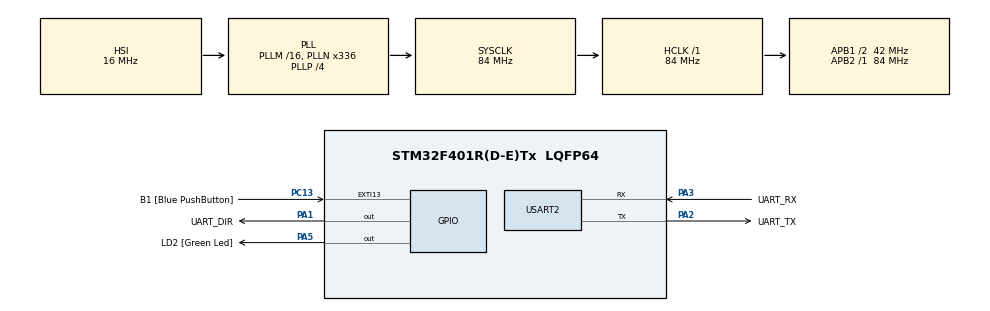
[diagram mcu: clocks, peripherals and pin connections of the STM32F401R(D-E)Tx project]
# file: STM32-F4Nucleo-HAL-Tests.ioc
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Mcu.Family=STM32F4
Mcu.Name=STM32F401R(D-E)Tx
Mcu.Package=LQFP64
NVIC.PriorityGroup=NVIC_PRIORITYGROUP_4
PA1.GPIO_Label=UART_DIR
PA1.Signal=GPIO_Output
PA13.GPIO_Label=TMS
PA13.Mode=Trace_Asynchronous_SW
PA13.Signal=SYS_JTMS-SWDIO
PA14.GPIO_Label=TCK
PA14.Mode=Trace_Asynchronous_SW
PA14.Signal=SYS_JTCK-SWCLK
PA2.GPIO_Label=UART_TX
PA2.GPIO_Mode=GPIO_MODE_AF_PP
PA2.GPIO_PuPd=GPIO_NOPULL
PA2.GPIO_Speed=GPIO_SPEED_FREQ_LOW
PA2.Mode=Asynchronous
PA2.Signal=USART2_TX
PA3.GPIO_Label=UART_RX
PA3.GPIO_Mode=GPIO_MODE_AF_PP
PA3.GPIO_PuPd=GPIO_NOPULL
PA3.GPIO_Speed=GPIO_SPEED_FREQ_LOW
PA3.Mode=Asynchronous
PA3.Signal=USART2_RX
PA5.GPIO_Label=LD2 [Green Led]
PA5.GPIO_Mode=GPIO_MODE_OUTPUT_PP
PA5.GPIO_PuPd=GPIO_NOPULL
PA5.GPIO_Speed=GPIO_SPEED_FREQ_LOW
PA5.Signal=GPIO_Output
PB3.GPIO_Label=SWO
PB3.Mode=Trace_Asynchronous_SW
PB3.Signal=SYS_JTDO-SWO
PC13-ANTI_TAMP.GPIO_Label=B1 [Blue PushButton]
PC13-ANTI_TAMP.GPIO_ModeDefaultEXTI=GPIO_MODE_IT_FALLING
PC13-ANTI_TAMP.GPIO_PuPd=GPIO_NOPULL
PC13-ANTI_TAMP.Signal=GPXTI13
PC14-OSC32_IN.Mode=LSE-External-Oscillator
PC14-OSC32_IN.Signal=RCC_OSC32_IN
PC15-OSC32_OUT.Mode=LSE-External-Oscillator
PC15-OSC32_OUT.Signal=RCC_OSC32_OUT
PH0\ -\ OSC_IN.Mode=HSE-External-Clock-Source
PH0\ -\ OSC_IN.Signal=RCC_OSC_IN
PH1\ -\ OSC_OUT.Mode=HSE-External-Clock-Source
PH1\ -\ OSC_OUT.Signal=RCC_OSC_OUT
ProjectManager.HeapSize=0x200
ProjectManager.StackSize=0x400
ProjectManager.TargetToolchain=STM32CubeIDE
RCC.48MHZClocksFreq_Value=48000000
RCC.AHBFreq_Value=84000000
RCC.APB1CLKDivider=RCC_HCLK_DIV2
RCC.APB1Freq_Value=42000000
RCC.APB1TimFreq_Value=84000000
RCC.APB2Freq_Value=84000000
RCC.APB2TimFreq_Value=84000000
RCC.CortexFreq_Value=84000000
RCC.HCLKFreq_Value=84000000
RCC.HSE_VALUE=8000000
RCC.HSI_VALUE=16000000
RCC.PLLN=336
RCC.PLLP=RCC_PLLP_DIV4
RCC.PLLQ=7
RCC.SYSCLKFreq_VALUE=84000000
RCC.SYSCLKSource=RCC_SYSCLKSOURCE_PLLCLK
RCC.VCOOutputFreq_Value=336000000
USART2.VirtualMode=VM_ASYNC
board=NUCLEO-F401RE

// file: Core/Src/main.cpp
/* USER CODE BEGIN Header */
/**
  ******************************************************************************
  * @file           : main.c
  * @brief          : Main program body
  ******************************************************************************
  * @attention
  *
  * Copyright (c) 2026 STMicroelectronics.
  * All rights reserved.
  *
  * This software is licensed under terms that can be found in the LICENSE file
  * in the root directory of this software component.
  * If no LICENSE file comes with this software, it is provided AS-IS.
  *
  ******************************************************************************
  */
/* USER CODE END Header */
#include "main.h"

/* USER CODE BEGIN Includes */
#define SMART_SERIAL_STM32_HAL_CLOCK
#include "smart-serial/api.hpp"
#include "smart-serial/clock/stm32_hal_clock.hpp"
/* USER CODE END Includes */

UART_HandleTypeDef huart2;

/* USER CODE BEGIN PV */
GPIO_TypeDef dir;
uint32_t dir_pin=4;

/* USER CODE END PV */

void SystemClock_Config(void);
static void MX_GPIO_Init(void);
static void MX_USART2_UART_Init(void);

int main(void)
{

  /* MCU Configuration--------------------------------------------------------*/

  /* Reset of all peripherals, Initializes the Flash interface and the Systick. */
  HAL_Init();

  /* Configure the system clock */
  SystemClock_Config();

  /* Initialize all configured peripherals */
  MX_GPIO_Init();
  MX_USART2_UART_Init();
  /* USER CODE BEGIN 2 */

  Smart_serial::STM32_uart_port port (&huart2, &dir, dir_pin);
  Smart_serial::Clock::STM32_hal_clock hal_clk;
  Smart_serial::Slave slave(port, hal_clk, 0x02U, 0xFE, 0xAAU, 1000U);

  /* USER CODE END 2 */

  /* Infinite loop */
  /* USER CODE BEGIN WHILE */
  int32_t res = slave.send_response("Hello World!", 0x06U);
  Smart_serial::Receive_result result = Smart_serial::Receive_result::ERR_TIMEOUT;
  slave.set_auto_handshake(true);
  while (1)
  {
	  Smart_serial::Frame::Frame frame;
	  HAL_GPIO_WritePin(LD2_GPIO_Port, LD2_Pin, GPIO_PIN_SET);
	  if (result == Smart_serial::Receive_result::ERR_TIMEOUT) result = slave.receive_request(&frame, 1000U);
	  HAL_GPIO_WritePin(LD2_GPIO_Port, LD2_Pin, GPIO_PIN_RESET);
	  HAL_Delay(1000U);
    /* USER CODE END WHILE */

  }
}

void SystemClock_Config(void)
{
  RCC_OscInitTypeDef RCC_OscInitStruct = {0};
  RCC_ClkInitTypeDef RCC_ClkInitStruct = {0};

  /** Configure the main internal regulator output voltage
  */
  __HAL_RCC_PWR_CLK_ENABLE();
  __HAL_PWR_VOLTAGESCALING_CONFIG(PWR_REGULATOR_VOLTAGE_SCALE2);

  /** Initializes the RCC Oscillators according to the specified parameters
  * in the RCC_OscInitTypeDef structure.
  */
  RCC_OscInitStruct.OscillatorType = RCC_OSCILLATORTYPE_HSI;
  RCC_OscInitStruct.HSIState = RCC_HSI_ON;
  RCC_OscInitStruct.HSICalibrationValue = RCC_HSICALIBRATION_DEFAULT;
  RCC_OscInitStruct.PLL.PLLState = RCC_PLL_ON;
  RCC_OscInitStruct.PLL.PLLSource = RCC_PLLSOURCE_HSI;
  RCC_OscInitStruct.PLL.PLLM = 16;
  RCC_OscInitStruct.PLL.PLLN = 336;
  RCC_OscInitStruct.PLL.PLLP = RCC_PLLP_DIV4;
  RCC_OscInitStruct.PLL.PLLQ = 7;
  if (HAL_RCC_OscConfig(&RCC_OscInitStruct) != HAL_OK)
  {
    Error_Handler();
  }

  /** Initializes the CPU, AHB and APB buses clocks
  */
  RCC_ClkInitStruct.ClockType = RCC_CLOCKTYPE_HCLK|RCC_CLOCKTYPE_SYSCLK
                              |RCC_CLOCKTYPE_PCLK1|RCC_CLOCKTYPE_PCLK2;
  RCC_ClkInitStruct.SYSCLKSource = RCC_SYSCLKSOURCE_PLLCLK;
  RCC_ClkInitStruct.AHBCLKDivider = RCC_SYSCLK_DIV1;
  RCC_ClkInitStruct.APB1CLKDivider = RCC_HCLK_DIV2;
  RCC_ClkInitStruct.APB2CLKDivider = RCC_HCLK_DIV1;

  if (HAL_RCC_ClockConfig(&RCC_ClkInitStruct, FLASH_LATENCY_2) != HAL_OK)
  {
    Error_Handler();
  }
}

static void MX_USART2_UART_Init(void)
{

  huart2.Instance = USART2;
  huart2.Init.BaudRate = 115200;
  huart2.Init.WordLength = UART_WORDLENGTH_8B;
  huart2.Init.StopBits = UART_STOPBITS_1;
  huart2.Init.Parity = UART_PARITY_NONE;
  huart2.Init.Mode = UART_MODE_TX_RX;
  huart2.Init.HwFlowCtl = UART_HWCONTROL_NONE;
  huart2.Init.OverSampling = UART_OVERSAMPLING_16;
  if (HAL_UART_Init(&huart2) != HAL_OK)
  {
    Error_Handler();
  }

}

static void MX_GPIO_Init(void)
{
  GPIO_InitTypeDef GPIO_InitStruct = {0};

  /* GPIO Ports Clock Enable */
  __HAL_RCC_GPIOC_CLK_ENABLE();
  __HAL_RCC_GPIOH_CLK_ENABLE();
  __HAL_RCC_GPIOA_CLK_ENABLE();
  __HAL_RCC_GPIOB_CLK_ENABLE();

  /*Configure GPIO pin Output Level */
  HAL_GPIO_WritePin(GPIOA, UART_DIR_Pin|LD2_Pin, GPIO_PIN_RESET);

  /*Configure GPIO pin : B1_Pin */
  GPIO_InitStruct.Pin = B1_Pin;
  GPIO_InitStruct.Mode = GPIO_MODE_IT_FALLING;
  GPIO_InitStruct.Pull = GPIO_NOPULL;
  HAL_GPIO_Init(B1_GPIO_Port, &GPIO_InitStruct);

  /*Configure GPIO pins : UART_DIR_Pin LD2_Pin */
  GPIO_InitStruct.Pin = UART_DIR_Pin|LD2_Pin;
  GPIO_InitStruct.Mode = GPIO_MODE_OUTPUT_PP;
  GPIO_InitStruct.Pull = GPIO_NOPULL;
  GPIO_InitStruct.Speed = GPIO_SPEED_FREQ_LOW;
  HAL_GPIO_Init(GPIOA, &GPIO_InitStruct);

}

void Error_Handler(void)
{
  __disable_irq();
  while (1)
  {
  }
}
